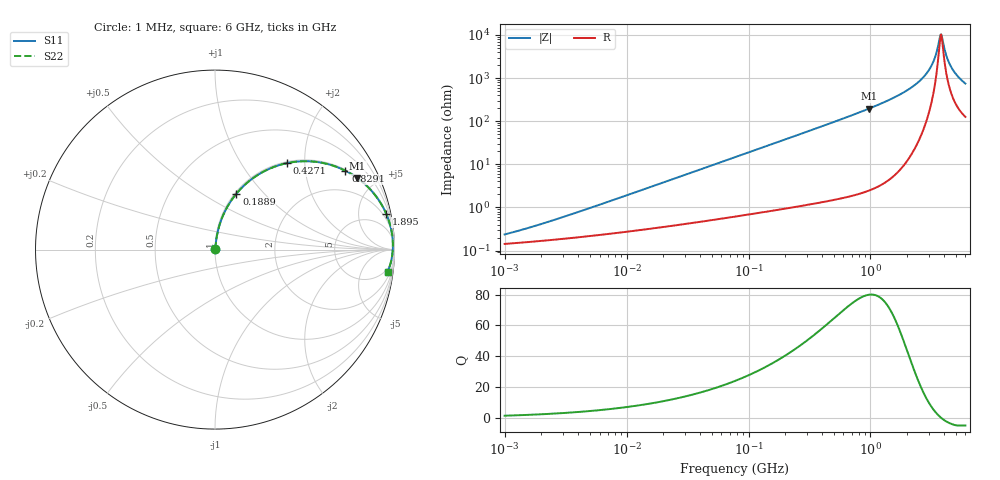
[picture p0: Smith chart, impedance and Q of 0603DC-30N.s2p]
# MHz  S  MA  R  50
!Freq  MagS11  AngS11  MagS21  AngS21  MagS12  AngS12  MagS22  AngS22
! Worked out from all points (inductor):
!   801 points, 1 MHz to 6 GHz, reference 50 ohm
!   read as one part in series: L = 30 nH near 2.967 MHz
!   highest Q = 79.8 at 976 MHz (marker M1), where L = 32.1 nH
!   self-resonance near 3.759 GHz
!   S11 on the Smith chart (normalised r, x): 1 MHz: 1.00, +0.00; 188.9 MHz: 1.02, +0.71; 427.1 MHz: 1.03, +1.63; 829.1 MHz: 1.04, +3.28; 1.895 GHz: 1.20, +9.53; 6 GHz: 4, -15
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1  0.002357 52.9  0.9986 -0.1  0.9986 -0.1  0.002357 52.9
4.293785  0.008335 75.2  0.9979 -0.5  0.9979 -0.5  0.008335 75.2
18.23719  0.03441 82.4  0.996 -2.0  0.996 -2.0  0.03441 82.4
78.30659  0.1453 79.3  0.9834 -8.3  0.9834 -8.3  0.1453 79.3
188.9453  0.3337 69.1  0.9342 -19.5  0.9342 -19.5  0.3337 69.1
332.5952  0.5297 56.9  0.8382 -32.0  0.8382 -32.0  0.5297 56.9
427.1081  0.6269 50.2  0.7687 -38.8  0.7687 -38.8  0.6269 50.2
829.1285  0.8492 31.1  0.5172 -58.1  0.5172 -58.1  0.8492 31.1
976.0278  0.8873 26.8  0.4502 -62.5  0.4502 -62.5  0.8873 26.8
1412.647  0.9477 17.8  0.3063 -71.4  0.3063 -71.4  0.9477 17.8
1894.725  0.9747 11.8  0.2045 -77.0  0.2045 -77.0  0.9747 11.8
2459.749  0.9873 7.1  0.1232 -80.6  0.1232 -80.6  0.9873 7.1
2959.215  0.9912 4.0  0.06952 -80.7  0.06952 -80.7  0.9912 4.0
3299.16  0.9917 2.2  0.03929 -76.7  0.03929 -76.7  0.9917 2.2
3445.832  0.9915 1.5  0.02764 -71.4  0.02764 -71.4  0.9915 1.5
3638.376  0.991 0.6  0.01441 -51.2  0.01441 -51.2  0.991 0.6
3759.029  0.9906 0.1  0.009685 -13.7  0.009685 -13.7  0.9906 0.1
3883.682  0.99 -0.4  0.01199 33.6  0.01199 33.6  0.99 -0.4
4236.675  0.9879 -1.8  0.03279 67.5  0.03279 67.5  0.9879 -1.8
4621.753  0.985 -3.1  0.05634 72.9  0.05634 72.9  0.985 -3.1
5209.023  0.9793 -5.0  0.08953 74.1  0.08953 74.1  0.9793 -5.0
6000  0.9699 -7.3  0.1297 72.9  0.1297 72.9  0.9699 -7.3
